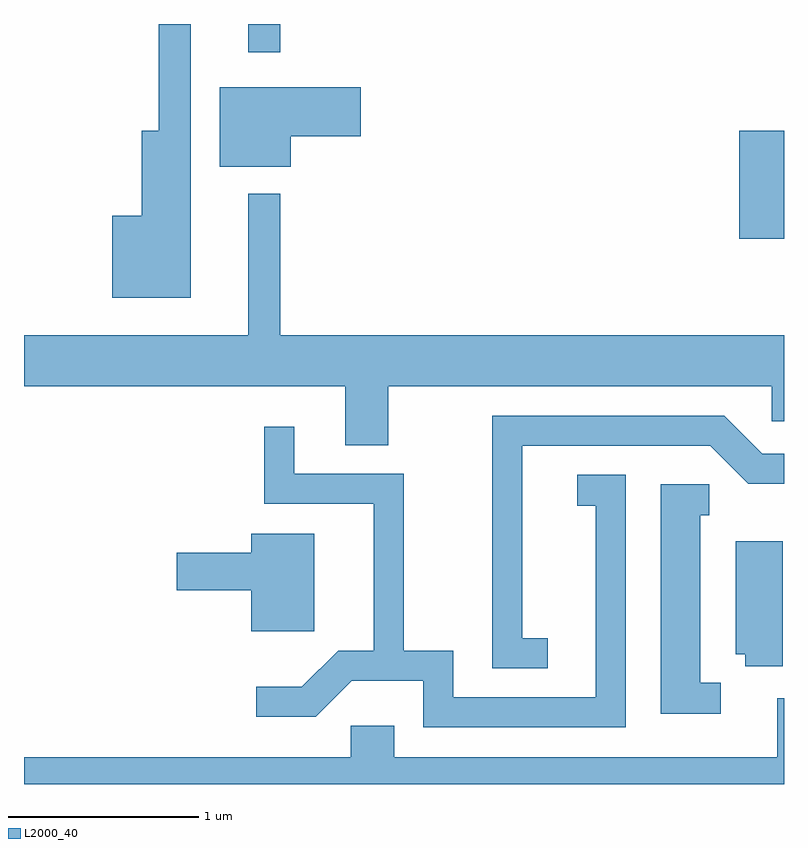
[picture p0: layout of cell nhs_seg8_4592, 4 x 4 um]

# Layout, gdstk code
import gdstk
lib = gdstk.Library(unit=1e-6, precision=1e-09)
def R(c, l, rs):  # rectangles x0, y0, x1, y1
    for r in rs: c.add(gdstk.rectangle(r[:2], r[2:], *l))
def P(c, l, *ps):  # polygons
    for p in ps: c.add(gdstk.Polygon(p, *l))
L2000_40 = (2000, 40)

nhs_seg8_4592 = lib.new_cell('nhs_seg8_4592')
R(nhs_seg8_4592, L2000_40, [(327.376,1817.211,327.611,1817.779), (324.791,1818.193,324.959,1818.342)])
P(nhs_seg8_4592, L2000_40, [(324.489,1818.342),(324.321,1818.342),(324.321,1817.779),(324.231,1817.779),(324.231,1817.334),(324.076,1817.334),(324.076,1816.901),(324.489,1816.901)],
  [(325.014,1817.751),(325.384,1817.751),(325.384,1818.009),(324.641,1818.009),(324.641,1817.591),(325.014,1817.591)],
  [(325.529,1816.436),(327.546,1816.436),(327.546,1816.251),(327.611,1816.251),(327.611,1816.704),(324.959,1816.704),(324.959,1817.448),(324.791,1817.448),(324.791,1816.704),(323.611,1816.704),(323.611,1816.436),(325.301,1816.436),(325.301,1816.126),(325.529,1816.126)],
  [(326.368,1815.109),(326.234,1815.109),(326.234,1816.121),(327.224,1816.121),(327.424,1815.921),(327.611,1815.921),(327.611,1816.079),(327.497,1816.079),(327.297,1816.279),(326.076,1816.279),(326.076,1814.951),(326.368,1814.951)],
  [(326.779,1815.969),(326.523,1815.969),(326.523,1815.806),(326.621,1815.806),(326.621,1814.799),(325.869,1814.799),(325.869,1815.044),(325.609,1815.044),(325.609,1815.974),(325.034,1815.974),(325.034,1816.223),(324.876,1816.223),(324.876,1815.816),(325.451,1815.816),(325.451,1815.044),(325.264,1815.044),(325.074,1814.854),(324.833,1814.854),(324.833,1814.696),(325.147,1814.696),(325.337,1814.886),(325.711,1814.886),(325.711,1814.641),(326.779,1814.641)],
  [(327.278,1814.874),(327.169,1814.874),(327.169,1815.756),(327.218,1815.756),(327.218,1815.919),(326.961,1815.919),(326.961,1814.711),(327.278,1814.711)],
  [(325.139,1815.659),(324.806,1815.659),(324.806,1815.559),(324.416,1815.559),(324.416,1815.361),(324.806,1815.361),(324.806,1815.146),(325.139,1815.146)],
  [(327.604,1815.619),(327.356,1815.619),(327.356,1815.026),(327.406,1815.026),(327.406,1814.961),(327.604,1814.961)],
  [(327.611,1814.794),(327.576,1814.794),(327.576,1814.484),(325.559,1814.484),(325.559,1814.649),(325.331,1814.649),(325.331,1814.484),(323.611,1814.484),(323.611,1814.342),(327.611,1814.342)])

lib.write_gds('nhs_seg8_4592.gds')
